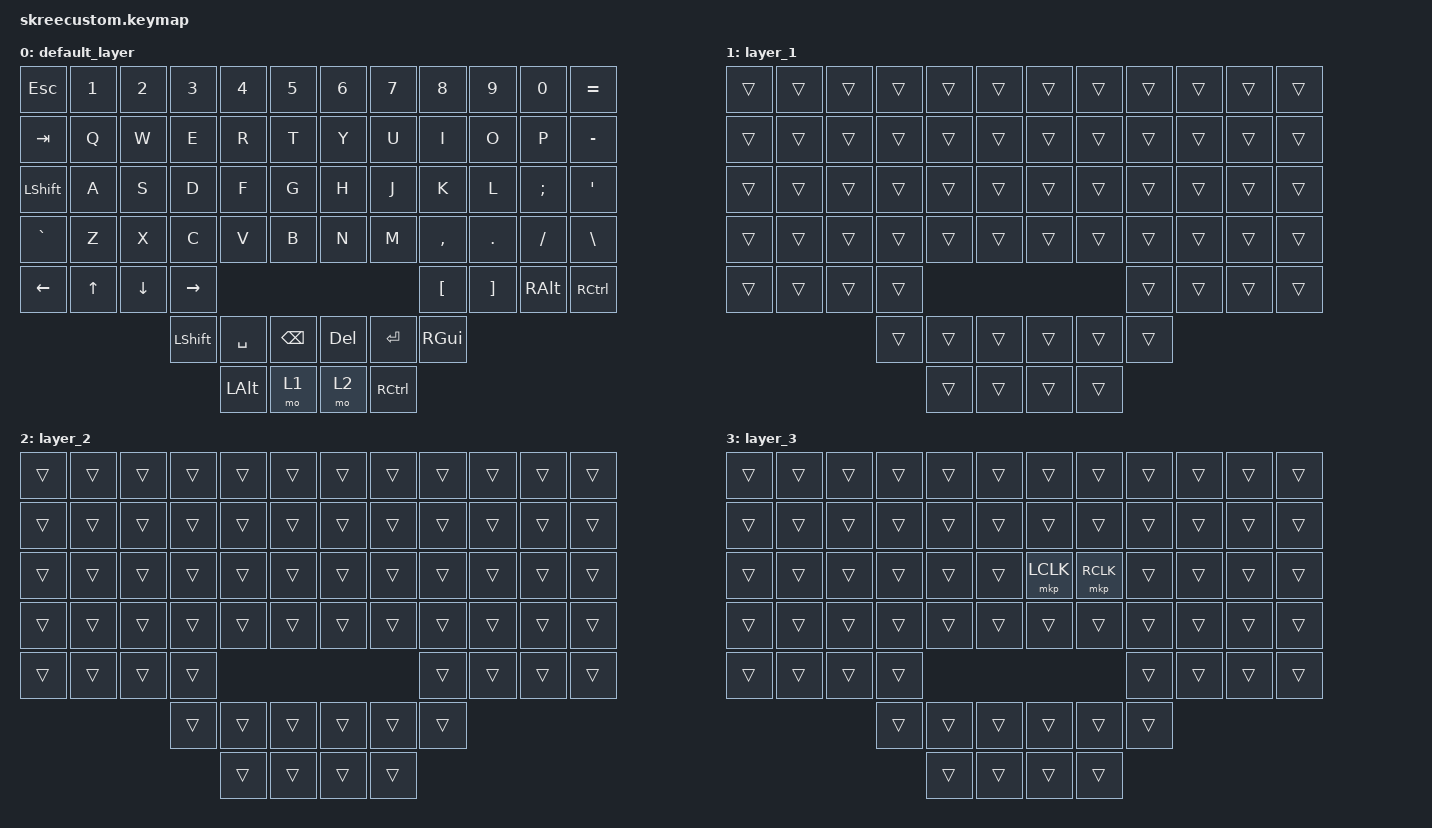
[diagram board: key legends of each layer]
/*
 * Copyright (c) 2020 The ZMK Contributors
 *
 * SPDX-License-Identifier: MIT
 */
//#include <behaviors/mouse_keys.dtsi>

// Input processors + transform flags for trackball scroll/pointer tuning
#include <input/processors.dtsi>
#include <dt-bindings/zmk/input_transform.h>
#include <behaviors.dtsi>
#include <dt-bindings/zmk/keys.h>
#include <dt-bindings/zmk/pointing.h>

/ {
    keymap {
        compatible = "zmk,keymap";

        // Base layer: QWERTY; bottom row has nav keys, layer toggles (mo 1 = left half, mo 2 = right half)
        default_layer {
            bindings = <
&kp ESC    &kp N1  &kp N2    &kp N3     &kp N4     &kp N5      &kp N6   &kp N7     &kp N8     &kp N9    &kp N0    &kp EQUAL
&kp TAB    &kp Q   &kp W     &kp E      &kp R      &kp T       &kp Y    &kp U      &kp I      &kp O     &kp P     &kp MINUS
&kp LSHFT  &kp A   &kp S     &kp D      &kp F      &kp G       &kp H    &kp J      &kp K      &kp L     &kp SEMI  &kp SQT
&kp GRAVE  &kp Z   &kp X     &kp C      &kp V      &kp B       &kp N    &kp M      &kp COMMA  &kp DOT   &kp FSLH  &kp BSLH
&kp LEFT   &kp UP  &kp DOWN  &kp RIGHT                                             &kp LBKT   &kp RBKT  &kp RALT  &kp RCTRL
                             &kp LSHFT  &kp SPACE  &kp BSPC    &kp DEL  &kp RET    &kp RGUI
                                        &kp LALT   &mo 1       &mo 2    &kp RCTRL
            >;
        };

        // Layer 1: left-half layer (e.g. left-side layer toggle held)
        layer_1 {
            bindings = <
&trans  &trans  &trans  &trans  &trans  &trans    &trans  &trans  &trans  &trans  &trans  &trans
&trans  &trans  &trans  &trans  &trans  &trans    &trans  &trans  &trans  &trans  &trans  &trans
&trans  &trans  &trans  &trans  &trans  &trans    &trans  &trans  &trans  &trans  &trans  &trans
&trans  &trans  &trans  &trans  &trans  &trans    &trans  &trans  &trans  &trans  &trans  &trans
&trans  &trans  &trans  &trans                                    &trans  &trans  &trans  &trans
                        &trans  &trans  &trans    &trans  &trans  &trans
                                &trans  &trans    &trans  &trans
            >;
        };

        // Layer 2: right-half layer (e.g. right-side layer toggle held)
        layer_2 {
            bindings = <
&trans  &trans  &trans  &trans  &trans  &trans    &trans  &trans  &trans  &trans  &trans  &trans
&trans  &trans  &trans  &trans  &trans  &trans    &trans  &trans  &trans  &trans  &trans  &trans
&trans  &trans  &trans  &trans  &trans  &trans    &trans  &trans  &trans  &trans  &trans  &trans
&trans  &trans  &trans  &trans  &trans  &trans    &trans  &trans  &trans  &trans  &trans  &trans
&trans  &trans  &trans  &trans                                    &trans  &trans  &trans  &trans
                        &trans  &trans  &trans    &trans  &trans  &trans
                                &trans  &trans    &trans  &trans
            >;
        };

        // Layer 3: mouse layer (e.g. activated by right trackball); left/right click on center keys
        layer_3 {
            bindings = <
&trans  &trans  &trans  &trans  &trans  &trans    &trans     &trans     &trans  &trans  &trans  &trans
&trans  &trans  &trans  &trans  &trans  &trans    &trans     &trans     &trans  &trans  &trans  &trans
&trans  &trans  &trans  &trans  &trans  &trans    &mkp LCLK  &mkp RCLK  &trans  &trans  &trans  &trans
&trans  &trans  &trans  &trans  &trans  &trans    &trans     &trans     &trans  &trans  &trans  &trans
&trans  &trans  &trans  &trans                                          &trans  &trans  &trans  &trans
                        &trans  &trans  &trans    &trans     &trans     &trans
                                &trans  &trans    &trans     &trans
            >;
        };
    };
};

// ─── Trackball configuration is NOT here ───
// All trackball input-processor settings (base speed, layer overrides) live in:
//   skreecustom.dtsi  →  trackball_central_listener   (left hand, scroll)
//   skreecustom.dtsi  →  trackball_peripheral_listener (right hand, pointer)
//
// The overlay files (skreecustom_left.overlay / skreecustom_right.overlay)
// handle hardware hookup and enabling only — they do NOT set input-processors.
//
// DO NOT add &trackball_*_listener overrides here — they would silently
// replace the dtsi values and cause hard-to-debug behavior changes.
